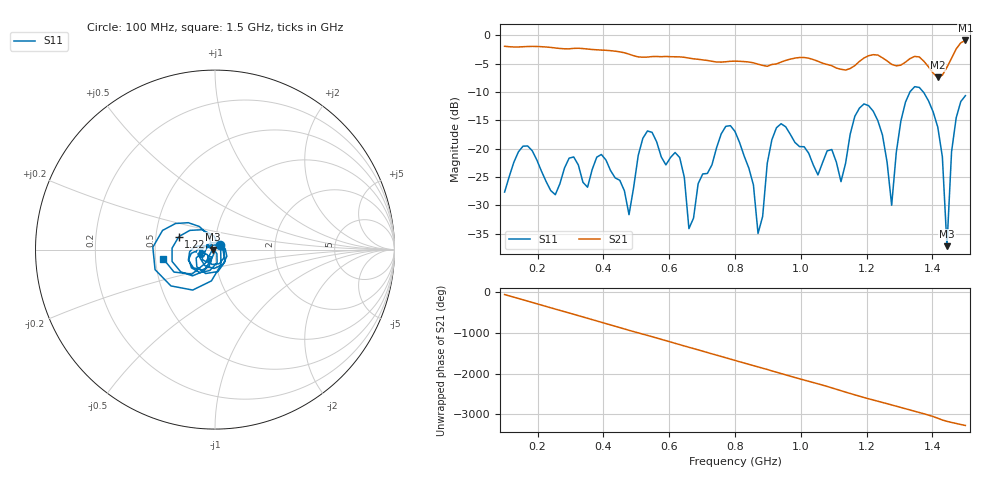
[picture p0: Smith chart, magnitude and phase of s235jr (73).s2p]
! NanoVNA-App
! Date: 2025-09-26 09:45:21
! Start: 100MHz Stop: 1,5GHz Points: 101
! S-Parameter data: F S11 S21 S12 S22
# Hz S RI R 50
!  Frequency  S11_Real  S11_Imag  S21_Real  S21_Imag  S12_Real  S12_Imag  S22_Real  S22_Imag
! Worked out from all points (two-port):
!   101 points, 100 MHz to 1.5 GHz, reference 50 ohm
!   highest |S21| = -0.92 dB at 1.5 GHz (marker M1); lowest = -7.4 dB at 1.416 GHz (marker M2)
!   |S21| within 3 dB of the highest: start of sweep to 649 MHz; 1.195 GHz to 1.246 GHz (51.19 MHz wide, 4.19 % of centre) (the widest 2 of 4)
!   lowest |S11| = -37.2 dB at 1.444 GHz (marker M3), VSWR 1.03, Z = 48.6 + j0.0255 ohm
!   |S11| at or under -10 dB: start of sweep to 1.332 GHz; 1.372 GHz to end of sweep
!   S12 and S22 are empty: the file has one direction only
!   S11 on the Smith chart (normalised r, x): 100 MHz: 1.06, +0.06; 1.22 GHz: 0.66, +0.10; 1.5 GHz: 0.55, -0.06
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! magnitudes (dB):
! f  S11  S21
! 100 MHz  -27.6  -2.0
! 156 MHz  -19.6  -2.0
! 338 MHz  -25.9  -2.4
! 394 MHz  -21.0  -2.6
! 478 MHz  -31.6  -3.3
! 520 MHz  -18.2  -3.9
! 576 MHz  -21.5  -3.8
! 632 MHz  -21.6  -3.8
! 660 MHz  -34.1  -4.0
! 800 MHz  -17.0  -4.6
! 870 MHz  -34.9  -5.1
! 926 MHz  -16.3  -5.1
! 1.038 GHz  -22.9  -4.3
! 1.122 GHz  -25.8  -6.0
! 1.164 GHz  -14.3  -5.4
! 1.22 GHz  -13.4  -3.4
! 1.276 GHz  -30.0  -5.1
! 1.332 GHz  -9.9  -4.1
! 1.416 GHz  -16.2  -7.4
! 1.444 GHz  -37.2  -5.6
! 1.458 GHz  -20.5  -4.1
! 1.5 GHz  -10.7  -0.9
